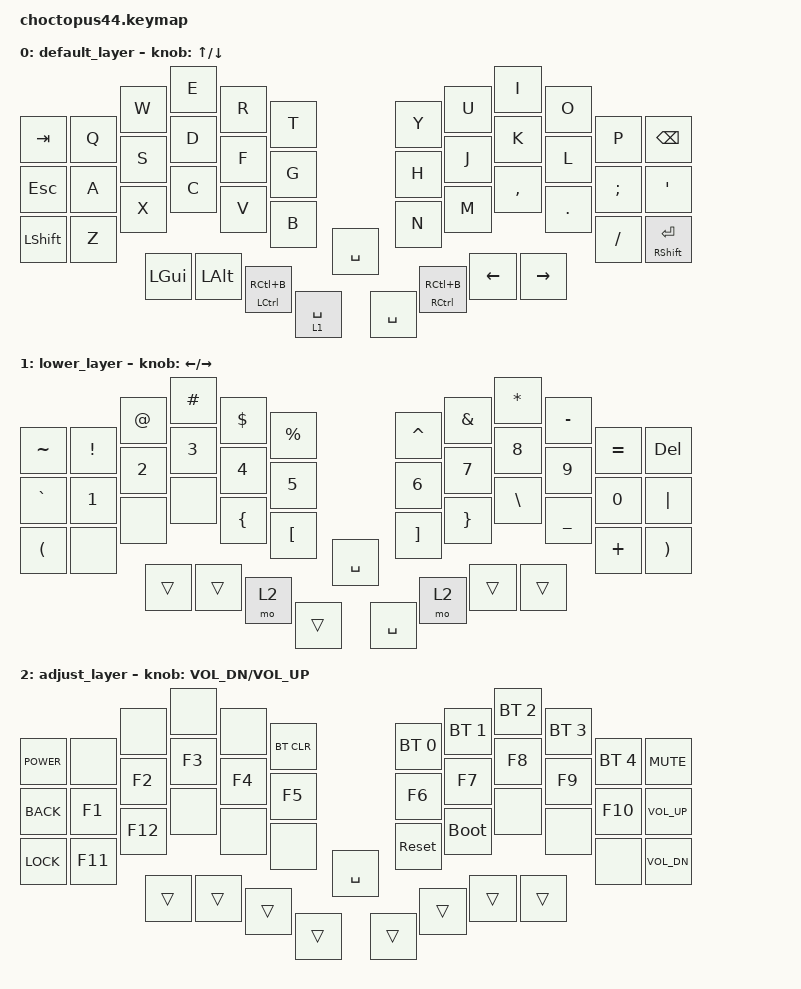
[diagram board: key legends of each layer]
/*
 * Copyright (c) 2021 The ZMK Contributors
 *
 * SPDX-License-Identifier: MIT
 */

#include <behaviors.dtsi>
#include <dt-bindings/zmk/keys.h>
#include <dt-bindings/zmk/bt.h>
#include <dt-bindings/zmk/rgb.h>

&mt {
    tapping-term-ms = <400>;
};

/ {
  keymap {
    compatible = "zmk,keymap";


    default_layer {
      bindings = <
        &kp TAB   &kp Q &kp W &kp E &kp R &kp T           &kp Y &kp U &kp I &kp O &kp P &kp BSPC
        &kp ESC   &kp A &kp S &kp D &kp F &kp G           &kp H &kp J &kp K &kp L &kp SEMI &kp SQT
        &kp LSHFT &kp Z &kp X &kp C &kp V &kp B  &kp SPACE  &kp N &kp M &kp COMMA &kp DOT &kp FSLH &mt RSHFT RET
              &kp LGUI &kp LALT &mt LCTRL RC(B) &lt 1 SPACE           &kp SPACE &mt RCTRL RC(B) &kp LEFT &kp RIGHT
      >;
      sensor-bindings = <&inc_dec_kp UP DOWN>;
    };

    lower_layer {
      bindings = <
        &kp TILDE &kp EXCL &kp AT &kp HASH &kp DLLR &kp PRCNT      &kp CARET &kp AMPS &kp STAR &kp MINUS &kp EQUAL &kp DEL
        &kp GRAVE &kp N1 &kp N2 &kp N3 &kp N4 &kp N5               &kp N6 &kp N7 &kp N8 &kp N9 &kp N0 &kp PIPE
        &kp LPAR &none &none &none &kp LBRC &kp LBKT        &kp SPACE      &kp RBKT &kp RBRC &kp BSLH &kp UNDER &kp PLUS &kp RPAR
                         &trans &trans &mo 2 &trans               &kp SPACE &mo 2 &trans &trans
      >;
      sensor-bindings = <&inc_dec_kp LEFT RIGHT>;
    };

    adjust_layer {
      bindings = <
        &kp K_POWER &none &none &none &none &bt BT_CLR             &bt BT_SEL 0 &bt BT_SEL 1 &bt BT_SEL 2 &bt BT_SEL 3 &bt BT_SEL 4 &kp K_MUTE
        &kp K_BACK &kp F1 &kp F2 &kp F3 &kp F4 &kp F5              &kp F6 &kp F7 &kp F8 &kp F9 &kp F10 &kp K_VOL_UP
        &kp K_LOCK &kp F11 &kp F12 &none &none &none        &kp SPACE      &sys_reset &bootloader &none &none &none &kp K_VOL_DN
                          &trans &trans &trans &trans              &trans &trans &trans &trans
      >;
      sensor-bindings = <&inc_dec_kp C_VOL_DN C_VOL_UP>;
    };

  };
};
